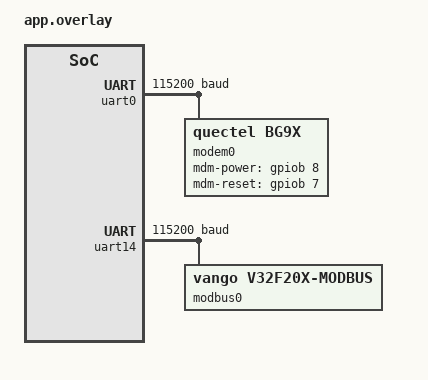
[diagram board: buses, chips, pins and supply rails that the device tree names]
&gpioa { status = "okay"; };
&gpiob { status = "okay"; };

&uart0 {
    status = "okay";
    current-speed = <115200>;
    
    modem0: modem0 {
        compatible = "quectel,bg9x";
        mdm-power-gpios = <&gpiob 8 GPIO_ACTIVE_HIGH>;
        mdm-reset-gpios = <&gpiob 7 GPIO_ACTIVE_HIGH>;
        status = "okay";
    };
};

&uart14 { 
    status = "okay"; 
    current-speed = <115200>; 
    modbus0: modbus0 {
        compatible = "vango,v32f20x-modbus", "zephyr,modbus-serial";
        status = "okay";
    };
};

/ {
    aliases {
        app-uart = &uart14;
        app-modbus = &modbus0;
        app-modem = &modem0;
    };

    chosen {
        zephyr,ipc_shm = &ipc_shm_0;
    };



    ipc0: ipc0 {
        compatible = "zephyr,ipc-icmsg";
        tx-region = <&ipc_shm_1>;
        rx-region = <&ipc_shm_0>;
        mboxes = <&mbox 1>, <&mbox 0>;
        mbox-names = "rx", "tx";
        status = "okay";
    };
};
